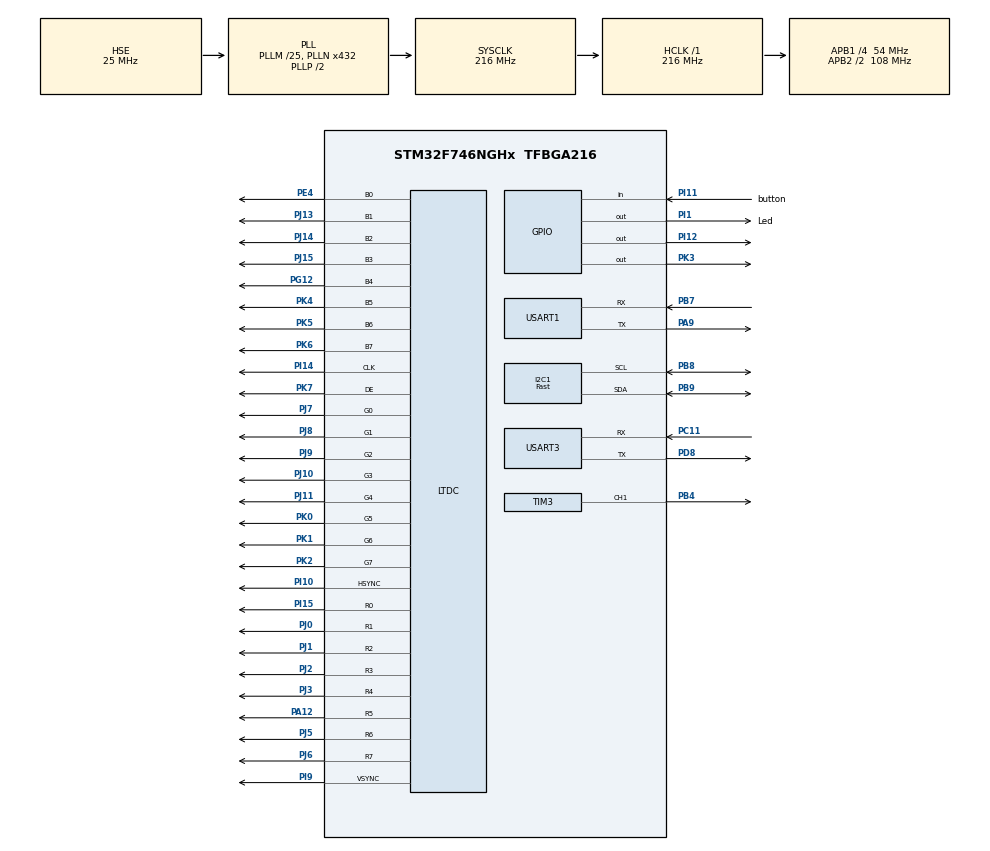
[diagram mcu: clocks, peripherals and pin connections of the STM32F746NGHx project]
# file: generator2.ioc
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CORTEX_M7.AccessPermission_Spec=MPU_REGION_FULL_ACCESS
CORTEX_M7.BaseAddress_Spec=0x20010000
CORTEX_M7.CPU_DCache=Enabled
CORTEX_M7.CPU_ICache=Enabled
CORTEX_M7.DisableExec_Spec=MPU_INSTRUCTION_ACCESS_ENABLE
CORTEX_M7.IsCacheable_Spec=MPU_ACCESS_CACHEABLE
CORTEX_M7.IsShareable_Spec=MPU_ACCESS_NOT_SHAREABLE
CORTEX_M7.MPU_Control=MPU_PRIVILEGED_DEFAULT
CORTEX_M7.Size_Spec=MPU_REGION_SIZE_256KB
CORTEX_M7.SubRegionDisable_Spec=0x0
CORTEX_M7.default_mode_Activation=1
I2C1.I2C_Speed_Mode=I2C_Fast
I2C1.Timing=0x6000030D
LTDC.ActiveH=272
LTDC.ActiveW=480
LTDC.Alpha_L0=255
LTDC.HBP=13
LTDC.HFP=32
LTDC.HSync=41
LTDC.ImageHeight_L0=272
LTDC.ImageWidth_L0=480
LTDC.Layers=0
LTDC.PixelFormat_L0=LTDC_PIXEL_FORMAT_RGB565
LTDC.Red=0
LTDC.VSync=10
LTDC.WindowX1_L0=480
LTDC.WindowY1_L0=272
Mcu.Family=STM32F7
Mcu.Name=STM32F746NGHx
Mcu.Package=TFBGA216
NVIC.PriorityGroup=NVIC_PRIORITYGROUP_4
NVIC.TIM3_IRQn=true\:0\:0\:false\:false\:true\:true\:true\:true
PA0/WKUP.Signal=S_TIM2_CH1_ETR
PA12.GPIO_Speed=GPIO_SPEED_FREQ_HIGH
PA12.Mode=RGB888
PA12.Signal=LTDC_R5
PA9.Mode=Asynchronous
PA9.Signal=USART1_TX
PB4.Signal=S_TIM3_CH1
PB7.Mode=Asynchronous
PB7.Signal=USART1_RX
PB8.Mode=I2C
PB8.Signal=I2C1_SCL
PB9.Mode=I2C
PB9.Signal=I2C1_SDA
PC11.Mode=Asynchronous
PC11.Signal=USART3_RX
PD8.Mode=Asynchronous
PD8.Signal=USART3_TX
PE4.Mode=RGB888
PE4.Signal=LTDC_B0
PG12.GPIO_Speed=GPIO_SPEED_FREQ_HIGH
PG12.Mode=RGB888
PG12.Signal=LTDC_B4
PH0/OSC_IN.Mode=HSE-External-Oscillator
PH0/OSC_IN.Signal=RCC_OSC_IN
PH1/OSC_OUT.Mode=HSE-External-Oscillator
PH1/OSC_OUT.Signal=RCC_OSC_OUT
PH7.Signal=I2C3_SCL
PH8.Signal=I2C3_SDA
PI1.GPIO_Label=Led
PI1.PinState=GPIO_PIN_RESET
PI1.Signal=GPIO_Output
PI10.GPIO_Speed=GPIO_SPEED_FREQ_HIGH
PI10.Mode=RGB888
PI10.Signal=LTDC_HSYNC
PI11.GPIO_Label=button
PI11.GPIO_PuPd=GPIO_NOPULL
PI11.Signal=GPIO_Input
PI12.GPIO_Speed=GPIO_SPEED_FREQ_HIGH
PI12.PinState=GPIO_PIN_SET
PI12.Signal=GPIO_Output
PI14.GPIO_Speed=GPIO_SPEED_FREQ_HIGH
PI14.Mode=RGB888
PI14.Signal=LTDC_CLK
PI15.GPIO_Speed=GPIO_SPEED_FREQ_HIGH
PI15.Mode=RGB888
PI15.Signal=LTDC_R0
PI9.GPIO_Speed=GPIO_SPEED_FREQ_HIGH
PI9.Mode=RGB888
PI9.Signal=LTDC_VSYNC
PJ0.GPIO_Speed=GPIO_SPEED_FREQ_HIGH
PJ0.Mode=RGB888
PJ0.Signal=LTDC_R1
PJ1.GPIO_Speed=GPIO_SPEED_FREQ_HIGH
PJ1.Mode=RGB888
PJ1.Signal=LTDC_R2
PJ10.GPIO_Speed=GPIO_SPEED_FREQ_HIGH
PJ10.Mode=RGB888
PJ10.Signal=LTDC_G3
PJ11.GPIO_Speed=GPIO_SPEED_FREQ_HIGH
PJ11.Mode=RGB888
PJ11.Signal=LTDC_G4
PJ13.Mode=RGB888
PJ13.Signal=LTDC_B1
PJ14.GPIO_Speed=GPIO_SPEED_FREQ_HIGH
PJ14.Mode=RGB888
PJ14.Signal=LTDC_B2
PJ15.GPIO_Speed=GPIO_SPEED_FREQ_HIGH
PJ15.Mode=RGB888
PJ15.Signal=LTDC_B3
PJ2.GPIO_Speed=GPIO_SPEED_FREQ_HIGH
PJ2.Mode=RGB888
PJ2.Signal=LTDC_R3
PJ3.GPIO_Speed=GPIO_SPEED_FREQ_HIGH
PJ3.Mode=RGB888
PJ3.Signal=LTDC_R4
PJ5.GPIO_Mode=GPIO_MODE_AF_PP
PJ5.GPIO_Speed=GPIO_SPEED_FREQ_HIGH
PJ5.Mode=RGB888
PJ5.Signal=LTDC_R6
PJ6.GPIO_Speed=GPIO_SPEED_FREQ_HIGH
PJ6.Mode=RGB888
PJ6.Signal=LTDC_R7
PJ7.GPIO_Speed=GPIO_SPEED_FREQ_HIGH
PJ7.Mode=RGB888
PJ7.Signal=LTDC_G0
PJ8.GPIO_Speed=GPIO_SPEED_FREQ_HIGH
PJ8.Mode=RGB888
PJ8.Signal=LTDC_G1
PJ9.GPIO_Speed=GPIO_SPEED_FREQ_HIGH
PJ9.Mode=RGB888
PJ9.Signal=LTDC_G2
PK0.GPIO_Speed=GPIO_SPEED_FREQ_HIGH
PK0.Mode=RGB888
PK0.Signal=LTDC_G5
PK1.GPIO_Speed=GPIO_SPEED_FREQ_HIGH
PK1.Mode=RGB888
PK1.Signal=LTDC_G6
PK2.GPIO_Speed=GPIO_SPEED_FREQ_HIGH
PK2.Mode=RGB888
PK2.Signal=LTDC_G7
PK3.GPIO_Speed=GPIO_SPEED_FREQ_HIGH
PK3.PinState=GPIO_PIN_SET
PK3.Signal=GPIO_Output
PK4.GPIO_Speed=GPIO_SPEED_FREQ_HIGH
PK4.Mode=RGB888
PK4.Signal=LTDC_B5
PK5.GPIO_Speed=GPIO_SPEED_FREQ_HIGH
PK5.Mode=RGB888
PK5.Signal=LTDC_B6
PK6.GPIO_Speed=GPIO_SPEED_FREQ_HIGH
PK6.Mode=RGB888
PK6.Signal=LTDC_B7
PK7.GPIO_Speed=GPIO_SPEED_FREQ_HIGH
PK7.Mode=RGB888
PK7.Signal=LTDC_DE
ProjectManager.HeapSize=0x200
ProjectManager.StackSize=0x400
ProjectManager.TargetToolchain=STM32CubeIDE
RCC.AHBFreq_Value=216000000
RCC.APB1CLKDivider=RCC_HCLK_DIV4
RCC.APB1Freq_Value=54000000
RCC.APB1TimFreq_Value=108000000
RCC.APB2CLKDivider=RCC_HCLK_DIV2
RCC.APB2Freq_Value=108000000
RCC.APB2TimFreq_Value=216000000
RCC.CortexFreq_Value=216000000
RCC.HCLKFreq_Value=216000000
RCC.HSE_VALUE=25000000
RCC.HSI_VALUE=16000000
RCC.LSE_VALUE=32768
RCC.PLL48CLockSelection=RCC_CLK48SOURCE_PLLSAIP
RCC.PLLM=25
RCC.PLLN=432
RCC.PLLQ=8
RCC.PLLSAIN=100
RCC.PLLSAIP=RCC_PLLSAIP_DIV4
RCC.PLLSourceVirtual=RCC_PLLSOURCE_HSE
RCC.SYSCLKFreq_VALUE=216000000
RCC.SYSCLKSource=RCC_SYSCLKSOURCE_PLLCLK
RCC.USBFreq_Value=25000000
RCC.VCOOutputFreq_Value=432000000
SH.S_TIM2_CH1_ETR.0=TIM2_CH1
SH.S_TIM3_CH1.0=TIM3_CH1,PWM Generation1 CH1
TIM3.Channel-PWM\ Generation1\ CH1=TIM_CHANNEL_1
TIM3.Period=499
TIM3.Prescaler=999
TIM3.Pulse-PWM\ Generation1\ CH1=0
USART1.VirtualMode-Asynchronous=VM_ASYNC
USART3.VirtualMode-Asynchronous=VM_ASYNC
VP_RNG_VS_RNG.Mode=RNG_Activate
VP_TIM3_VS_ClockSourceINT.Mode=Internal
board=custom

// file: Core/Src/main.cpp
 /* USER CODE BEGIN Header */
/* USER CODE END Header */
#include <string.h>
#include <stdio.h>
#include <lvgl.h>
#include <lv_port_disp.h>
#include <lv_port_indev.h>
#include <main.h>
#include "stm32746g_discovery.h"
#include "stm32746g_discovery_ts.h"
#include "StateMachine.h"
#include "CreateButton.h"
#include "ButtonManager.h"
/* USER CODE END Includes */

/* USER CODE BEGIN PD */
#define FRAMEBUFFER_SIZE 480*272
#define BUTTON1_ACTION 1
#define BUTTON2_ACTION 2
#define BUTTON3_ACTION 3
#define BUTTON4_ACTION 4
/* USER CODE END PD */

I2C_HandleTypeDef hi2c1;

LTDC_HandleTypeDef hltdc;

RNG_HandleTypeDef hrng;

TIM_HandleTypeDef htim3;

UART_HandleTypeDef huart1;
UART_HandleTypeDef huart3;

/* USER CODE BEGIN PV */
lv_disp_drv_t disp_drv;

/* USER CODE END PV */

void SystemClock_Config(void);
void PeriphCommonClock_Config(void);
static void MPU_Config(void);
static void MX_GPIO_Init(void);
static void MX_USART3_UART_Init(void);
static void MX_RNG_Init(void);
static void MX_LTDC_Init(void);
static void MX_TIM3_Init(void);
static void MX_USART1_UART_Init(void);
static void MX_I2C1_Init(void);

/* USER CODE BEGIN 0 */
void update_timer_values(void);
lv_obj_t *btn;
StateMachine state_machine(&htim3);

void send_string(const char *str) {
	const size_t size = strlen(str);
	HAL_UART_Transmit(&huart1, (const uint8_t*)str, size, 5000);
}

void btn_event_handler(lv_event_t *event) {
    lv_obj_t *btn_target = lv_event_get_target(event);
    lv_obj_t *label_obj = lv_obj_get_child(btn_target, 0);

    if (label_obj != NULL) {
        const char *label = lv_label_get_text(label_obj);

		if (strcmp(label, "100 Hz") == 0) {
			state_machine.change_state(BUTTON1_ACTION);
		}
		else if (strcmp(label, "200 Hz") == 0) {
			state_machine.change_state(BUTTON2_ACTION);
		}
		else if (strcmp(label, "duty 30%") == 0) {
			state_machine.change_state(BUTTON3_ACTION);
		}
		else if (strcmp(label, "duty 70%") == 0) {
			state_machine.change_state(BUTTON4_ACTION);
		}
    }
}

void create_buttons() {
	ButtonManager::instance().addButton(0, "100 Hz", 10, 10, btn_event_handler);
	ButtonManager::instance().addButton(1, "200 Hz", 10, 70, btn_event_handler);
	ButtonManager::instance().addButton(2, "duty 30%", 10, 130, btn_event_handler);
	ButtonManager::instance().addButton(3, "duty 70%", 10, 190, btn_event_handler);
}

/* USER CODE END 0 */

int main(void)
{
  /* USER CODE BEGIN 1 */
//	sudo minicom -D /dev/ttyACM0 -b 115200
  /* USER CODE END 1 */

  /* MPU Configuration--------------------------------------------------------*/
  MPU_Config();

  /* Enable I-Cache---------------------------------------------------------*/
  SCB_EnableICache();

  /* Enable D-Cache---------------------------------------------------------*/
  SCB_EnableDCache();

  /* MCU Configuration--------------------------------------------------------*/

  /* Reset of all peripherals, Initializes the Flash interface and the Systick. */
  HAL_Init();

  /* Configure the system clock */
  SystemClock_Config();

/* Configure the peripherals common clocks */
  PeriphCommonClock_Config();

  /* Initialize all configured peripherals */
  MX_GPIO_Init();
  MX_USART3_UART_Init();
  MX_RNG_Init();
  MX_LTDC_Init();
  MX_TIM3_Init();
  MX_USART1_UART_Init();
  MX_I2C1_Init();
  /* USER CODE BEGIN 2 */

	HAL_LTDC_SetAddress(&hltdc,(uint32_t) &framebuffer,0);
	send_string("first\r\n");
	HAL_TIM_PWM_Start(&htim3, TIM_CHANNEL_1);

	uint32_t arr_value = __HAL_TIM_GET_AUTORELOAD(&htim3);
	__HAL_TIM_SET_COMPARE(&htim3, TIM_CHANNEL_1, (arr_value * 0.3));

	lv_init();
	lv_port_disp_init();
	lv_port_indev_init();
	send_string("ok\r\n");

	lv_obj_set_style_bg_color(lv_scr_act(), lv_color_hex(0xFFFFFF), LV_PART_MAIN);
	create_buttons();

  /* USER CODE END 2 */

  /* Infinite loop */

    /* USER CODE BEGIN 3 */
	while(1) {
		lv_timer_handler();
	}
  /* USER CODE END 3 */
}

void SystemClock_Config(void)
{
  RCC_OscInitTypeDef RCC_OscInitStruct = {0};
  RCC_ClkInitTypeDef RCC_ClkInitStruct = {0};

  /** Configure the main internal regulator output voltage
  */
  __HAL_RCC_PWR_CLK_ENABLE();
  __HAL_PWR_VOLTAGESCALING_CONFIG(PWR_REGULATOR_VOLTAGE_SCALE1);

  /** Initializes the RCC Oscillators according to the specified parameters
  * in the RCC_OscInitTypeDef structure.
  */
  RCC_OscInitStruct.OscillatorType = RCC_OSCILLATORTYPE_HSE;
  RCC_OscInitStruct.HSEState = RCC_HSE_ON;
  RCC_OscInitStruct.PLL.PLLState = RCC_PLL_ON;
  RCC_OscInitStruct.PLL.PLLSource = RCC_PLLSOURCE_HSE;
  RCC_OscInitStruct.PLL.PLLM = 25;
  RCC_OscInitStruct.PLL.PLLN = 432;
  RCC_OscInitStruct.PLL.PLLP = RCC_PLLP_DIV2;
  RCC_OscInitStruct.PLL.PLLQ = 8;
  if (HAL_RCC_OscConfig(&RCC_OscInitStruct) != HAL_OK)
  {
    Error_Handler();
  }

  /** Activate the Over-Drive mode
  */
  if (HAL_PWREx_EnableOverDrive() != HAL_OK)
  {
    Error_Handler();
  }

  /** Initializes the CPU, AHB and APB buses clocks
  */
  RCC_ClkInitStruct.ClockType = RCC_CLOCKTYPE_HCLK|RCC_CLOCKTYPE_SYSCLK
                              |RCC_CLOCKTYPE_PCLK1|RCC_CLOCKTYPE_PCLK2;
  RCC_ClkInitStruct.SYSCLKSource = RCC_SYSCLKSOURCE_PLLCLK;
  RCC_ClkInitStruct.AHBCLKDivider = RCC_SYSCLK_DIV1;
  RCC_ClkInitStruct.APB1CLKDivider = RCC_HCLK_DIV4;
  RCC_ClkInitStruct.APB2CLKDivider = RCC_HCLK_DIV2;

  if (HAL_RCC_ClockConfig(&RCC_ClkInitStruct, FLASH_LATENCY_7) != HAL_OK)
  {
    Error_Handler();
  }
}

void PeriphCommonClock_Config(void)
{
  RCC_PeriphCLKInitTypeDef PeriphClkInitStruct = {0};

  /** Initializes the peripherals clock
  */
  PeriphClkInitStruct.PeriphClockSelection = RCC_PERIPHCLK_LTDC|RCC_PERIPHCLK_CLK48;
  PeriphClkInitStruct.PLLSAI.PLLSAIN = 100;
  PeriphClkInitStruct.PLLSAI.PLLSAIR = 2;
  PeriphClkInitStruct.PLLSAI.PLLSAIQ = 2;
  PeriphClkInitStruct.PLLSAI.PLLSAIP = RCC_PLLSAIP_DIV4;
  PeriphClkInitStruct.PLLSAIDivQ = 1;
  PeriphClkInitStruct.PLLSAIDivR = RCC_PLLSAIDIVR_2;
  PeriphClkInitStruct.Clk48ClockSelection = RCC_CLK48SOURCE_PLLSAIP;
  if (HAL_RCCEx_PeriphCLKConfig(&PeriphClkInitStruct) != HAL_OK)
  {
    Error_Handler();
  }
}

static void MX_I2C1_Init(void)
{

  hi2c1.Instance = I2C1;
  hi2c1.Init.Timing = 0x6000030D;
  hi2c1.Init.OwnAddress1 = 0;
  hi2c1.Init.AddressingMode = I2C_ADDRESSINGMODE_7BIT;
  hi2c1.Init.DualAddressMode = I2C_DUALADDRESS_DISABLE;
  hi2c1.Init.OwnAddress2 = 0;
  hi2c1.Init.OwnAddress2Masks = I2C_OA2_NOMASK;
  hi2c1.Init.GeneralCallMode = I2C_GENERALCALL_DISABLE;
  hi2c1.Init.NoStretchMode = I2C_NOSTRETCH_DISABLE;
  if (HAL_I2C_Init(&hi2c1) != HAL_OK)
  {
    Error_Handler();
  }

  /** Configure Analogue filter
  */
  if (HAL_I2CEx_ConfigAnalogFilter(&hi2c1, I2C_ANALOGFILTER_ENABLE) != HAL_OK)
  {
    Error_Handler();
  }

  /** Configure Digital filter
  */
  if (HAL_I2CEx_ConfigDigitalFilter(&hi2c1, 0) != HAL_OK)
  {
    Error_Handler();
  }

}

static void MX_LTDC_Init(void)
{

  LTDC_LayerCfgTypeDef pLayerCfg = {0};

  hltdc.Instance = LTDC;
  hltdc.Init.HSPolarity = LTDC_HSPOLARITY_AL;
  hltdc.Init.VSPolarity = LTDC_VSPOLARITY_AL;
  hltdc.Init.DEPolarity = LTDC_DEPOLARITY_AL;
  hltdc.Init.PCPolarity = LTDC_PCPOLARITY_IPC;
  hltdc.Init.HorizontalSync = 40;
  hltdc.Init.VerticalSync = 9;
  hltdc.Init.AccumulatedHBP = 53;
  hltdc.Init.AccumulatedVBP = 11;
  hltdc.Init.AccumulatedActiveW = 533;
  hltdc.Init.AccumulatedActiveH = 283;
  hltdc.Init.TotalWidth = 565;
  hltdc.Init.TotalHeigh = 285;
  hltdc.Init.Backcolor.Blue = 0;
  hltdc.Init.Backcolor.Green = 0;
  hltdc.Init.Backcolor.Red = 0;
  if (HAL_LTDC_Init(&hltdc) != HAL_OK)
  {
    Error_Handler();
  }
  pLayerCfg.WindowX0 = 0;
  pLayerCfg.WindowX1 = 480;
  pLayerCfg.WindowY0 = 0;
  pLayerCfg.WindowY1 = 272;
  pLayerCfg.PixelFormat = LTDC_PIXEL_FORMAT_RGB565;
  pLayerCfg.Alpha = 255;
  pLayerCfg.Alpha0 = 0;
  pLayerCfg.BlendingFactor1 = LTDC_BLENDING_FACTOR1_CA;
  pLayerCfg.BlendingFactor2 = LTDC_BLENDING_FACTOR2_CA;
  pLayerCfg.FBStartAdress = 0;
  pLayerCfg.ImageWidth = 480;
  pLayerCfg.ImageHeight = 272;
  pLayerCfg.Backcolor.Blue = 0;
  pLayerCfg.Backcolor.Green = 0;
  pLayerCfg.Backcolor.Red = 0;
  if (HAL_LTDC_ConfigLayer(&hltdc, &pLayerCfg, 0) != HAL_OK)
  {
    Error_Handler();
  }

}

static void MX_RNG_Init(void)
{

  hrng.Instance = RNG;
  if (HAL_RNG_Init(&hrng) != HAL_OK)
  {
    Error_Handler();
  }

}

static void MX_TIM3_Init(void)
{

  TIM_ClockConfigTypeDef sClockSourceConfig = {0};
  TIM_MasterConfigTypeDef sMasterConfig = {0};
  TIM_OC_InitTypeDef sConfigOC = {0};

  htim3.Instance = TIM3;
  htim3.Init.Prescaler = 999;
  htim3.Init.CounterMode = TIM_COUNTERMODE_UP;
  htim3.Init.Period = 499;
  htim3.Init.ClockDivision = TIM_CLOCKDIVISION_DIV1;
  htim3.Init.AutoReloadPreload = TIM_AUTORELOAD_PRELOAD_DISABLE;
  if (HAL_TIM_Base_Init(&htim3) != HAL_OK)
  {
    Error_Handler();
  }
  sClockSourceConfig.ClockSource = TIM_CLOCKSOURCE_INTERNAL;
  if (HAL_TIM_ConfigClockSource(&htim3, &sClockSourceConfig) != HAL_OK)
  {
    Error_Handler();
  }
  if (HAL_TIM_PWM_Init(&htim3) != HAL_OK)
  {
    Error_Handler();
  }
  sMasterConfig.MasterOutputTrigger = TIM_TRGO_RESET;
  sMasterConfig.MasterSlaveMode = TIM_MASTERSLAVEMODE_DISABLE;
  if (HAL_TIMEx_MasterConfigSynchronization(&htim3, &sMasterConfig) != HAL_OK)
  {
    Error_Handler();
  }
  sConfigOC.OCMode = TIM_OCMODE_PWM1;
  sConfigOC.Pulse = 0;
  sConfigOC.OCPolarity = TIM_OCPOLARITY_HIGH;
  sConfigOC.OCFastMode = TIM_OCFAST_DISABLE;
  if (HAL_TIM_PWM_ConfigChannel(&htim3, &sConfigOC, TIM_CHANNEL_1) != HAL_OK)
  {
    Error_Handler();
  }
  HAL_TIM_MspPostInit(&htim3);

}

static void MX_USART1_UART_Init(void)
{

  huart1.Instance = USART1;
  huart1.Init.BaudRate = 115200;
  huart1.Init.WordLength = UART_WORDLENGTH_8B;
  huart1.Init.StopBits = UART_STOPBITS_1;
  huart1.Init.Parity = UART_PARITY_NONE;
  huart1.Init.Mode = UART_MODE_TX_RX;
  huart1.Init.HwFlowCtl = UART_HWCONTROL_NONE;
  huart1.Init.OverSampling = UART_OVERSAMPLING_16;
  huart1.Init.OneBitSampling = UART_ONE_BIT_SAMPLE_DISABLE;
  huart1.AdvancedInit.AdvFeatureInit = UART_ADVFEATURE_NO_INIT;
  if (HAL_UART_Init(&huart1) != HAL_OK)
  {
    Error_Handler();
  }

}

static void MX_USART3_UART_Init(void)
{

  huart3.Instance = USART3;
  huart3.Init.BaudRate = 115200;
  huart3.Init.WordLength = UART_WORDLENGTH_8B;
  huart3.Init.StopBits = UART_STOPBITS_1;
  huart3.Init.Parity = UART_PARITY_NONE;
  huart3.Init.Mode = UART_MODE_TX_RX;
  huart3.Init.HwFlowCtl = UART_HWCONTROL_NONE;
  huart3.Init.OverSampling = UART_OVERSAMPLING_16;
  huart3.Init.OneBitSampling = UART_ONE_BIT_SAMPLE_DISABLE;
  huart3.AdvancedInit.AdvFeatureInit = UART_ADVFEATURE_NO_INIT;
  if (HAL_UART_Init(&huart3) != HAL_OK)
  {
    Error_Handler();
  }

}

static void MX_GPIO_Init(void)
{
  GPIO_InitTypeDef GPIO_InitStruct = {0};

  /* GPIO Ports Clock Enable */
  __HAL_RCC_GPIOE_CLK_ENABLE();
  __HAL_RCC_GPIOB_CLK_ENABLE();
  __HAL_RCC_GPIOJ_CLK_ENABLE();
  __HAL_RCC_GPIOC_CLK_ENABLE();
  __HAL_RCC_GPIOA_CLK_ENABLE();
  __HAL_RCC_GPIOK_CLK_ENABLE();
  __HAL_RCC_GPIOG_CLK_ENABLE();
  __HAL_RCC_GPIOI_CLK_ENABLE();
  __HAL_RCC_GPIOH_CLK_ENABLE();
  __HAL_RCC_GPIOD_CLK_ENABLE();

  /*Configure GPIO pin Output Level */
  HAL_GPIO_WritePin(GPIOK, GPIO_PIN_3, GPIO_PIN_SET);

  /*Configure GPIO pin Output Level */
  HAL_GPIO_WritePin(Led_GPIO_Port, Led_Pin, GPIO_PIN_RESET);

  /*Configure GPIO pin Output Level */
  HAL_GPIO_WritePin(GPIOI, GPIO_PIN_12, GPIO_PIN_SET);

  /*Configure GPIO pin : PK3 */
  GPIO_InitStruct.Pin = GPIO_PIN_3;
  GPIO_InitStruct.Mode = GPIO_MODE_OUTPUT_PP;
  GPIO_InitStruct.Pull = GPIO_NOPULL;
  GPIO_InitStruct.Speed = GPIO_SPEED_FREQ_HIGH;
  HAL_GPIO_Init(GPIOK, &GPIO_InitStruct);

  /*Configure GPIO pin : Led_Pin */
  GPIO_InitStruct.Pin = Led_Pin;
  GPIO_InitStruct.Mode = GPIO_MODE_OUTPUT_PP;
  GPIO_InitStruct.Pull = GPIO_NOPULL;
  GPIO_InitStruct.Speed = GPIO_SPEED_FREQ_LOW;
  HAL_GPIO_Init(Led_GPIO_Port, &GPIO_InitStruct);

  /*Configure GPIO pin : PI12 */
  GPIO_InitStruct.Pin = GPIO_PIN_12;
  GPIO_InitStruct.Mode = GPIO_MODE_OUTPUT_PP;
  GPIO_InitStruct.Pull = GPIO_NOPULL;
  GPIO_InitStruct.Speed = GPIO_SPEED_FREQ_HIGH;
  HAL_GPIO_Init(GPIOI, &GPIO_InitStruct);

  /*Configure GPIO pin : button_Pin */
  GPIO_InitStruct.Pin = button_Pin;
  GPIO_InitStruct.Mode = GPIO_MODE_INPUT;
  GPIO_InitStruct.Pull = GPIO_NOPULL;
  HAL_GPIO_Init(button_GPIO_Port, &GPIO_InitStruct);

  /*Configure GPIO pin : PA0 */
  GPIO_InitStruct.Pin = GPIO_PIN_0;
  GPIO_InitStruct.Mode = GPIO_MODE_AF_PP;
  GPIO_InitStruct.Pull = GPIO_NOPULL;
  GPIO_InitStruct.Speed = GPIO_SPEED_FREQ_LOW;
  GPIO_InitStruct.Alternate = GPIO_AF1_TIM2;
  HAL_GPIO_Init(GPIOA, &GPIO_InitStruct);

  /*Configure GPIO pins : PH7 PH8 */
  GPIO_InitStruct.Pin = GPIO_PIN_7|GPIO_PIN_8;
  GPIO_InitStruct.Mode = GPIO_MODE_AF_OD;
  GPIO_InitStruct.Pull = GPIO_NOPULL;
  GPIO_InitStruct.Speed = GPIO_SPEED_FREQ_VERY_HIGH;
  GPIO_InitStruct.Alternate = GPIO_AF4_I2C3;
  HAL_GPIO_Init(GPIOH, &GPIO_InitStruct);

}

/* MPU Configuration */

void MPU_Config(void)
{
  MPU_Region_InitTypeDef MPU_InitStruct = {0};

  /* Disables the MPU */
  HAL_MPU_Disable();

  /** Initializes and configures the Region and the memory to be protected
  */
  MPU_InitStruct.Enable = MPU_REGION_ENABLE;
  MPU_InitStruct.Number = MPU_REGION_NUMBER0;
  MPU_InitStruct.BaseAddress = 0x20010000;
  MPU_InitStruct.Size = MPU_REGION_SIZE_256KB;
  MPU_InitStruct.SubRegionDisable = 0x0;
  MPU_InitStruct.TypeExtField = MPU_TEX_LEVEL0;
  MPU_InitStruct.AccessPermission = MPU_REGION_FULL_ACCESS;
  MPU_InitStruct.DisableExec = MPU_INSTRUCTION_ACCESS_ENABLE;
  MPU_InitStruct.IsShareable = MPU_ACCESS_NOT_SHAREABLE;
  MPU_InitStruct.IsCacheable = MPU_ACCESS_CACHEABLE;
  MPU_InitStruct.IsBufferable = MPU_ACCESS_NOT_BUFFERABLE;

  HAL_MPU_ConfigRegion(&MPU_InitStruct);
  /* Enables the MPU */
  HAL_MPU_Enable(MPU_PRIVILEGED_DEFAULT);

}

void Error_Handler(void)
{
}
